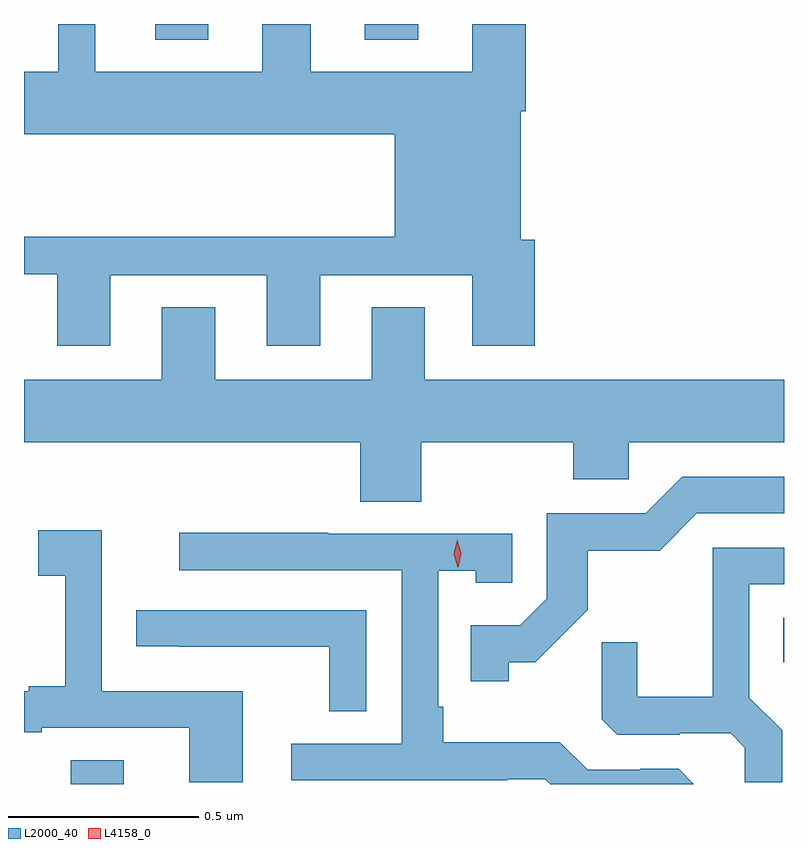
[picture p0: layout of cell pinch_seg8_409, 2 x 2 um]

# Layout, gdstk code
import gdstk
lib = gdstk.Library(unit=1e-6, precision=1e-09)
def R(c, l, rs):  # rectangles x0, y0, x1, y1
    for r in rs: c.add(gdstk.rectangle(r[:2], r[2:], *l))
def P(c, l, *ps):  # polygons
    for p in ps: c.add(gdstk.Polygon(p, *l))
L2000_40 = (2000, 40)
L4158_0 = (4158, 0)

pinch_seg8_409 = lib.new_cell('pinch_seg8_409')
R(pinch_seg8_409, L2000_40, [(540.995,1082.3,541.135,1082.363), (542.87,1082.621,542.872,1082.737), (541.217,1084.259,541.357,1084.3), (541.769,1084.259,541.909,1084.3)])
P(pinch_seg8_409, L2000_40, [(541.099,1083.639),(541.511,1083.639),(541.511,1083.453),(541.651,1083.453),(541.651,1083.639),(542.051,1083.639),(542.051,1083.453),(542.216,1083.453),(542.216,1083.732),(542.179,1083.732),(542.179,1084.07),(542.192,1084.07),(542.192,1084.3),(542.051,1084.3),(542.051,1084.174),(541.627,1084.174),(541.627,1084.3),(541.499,1084.3),(541.499,1084.174),(541.06,1084.174),(541.06,1084.3),(540.962,1084.3),(540.962,1084.174),(540.872,1084.174),(540.872,1084.01),(541.847,1084.01),(541.847,1083.74),(540.872,1083.74),(540.872,1083.642),(540.959,1083.642),(540.959,1083.453),(541.099,1083.453)],
  [(541.917,1083.2),(542.317,1083.2),(542.317,1083.102),(542.463,1083.102),(542.463,1083.2),(542.872,1083.2),(542.872,1083.364),(541.927,1083.364),(541.927,1083.554),(541.787,1083.554),(541.787,1083.364),(541.375,1083.364),(541.375,1083.554),(541.235,1083.554),(541.235,1083.364),(540.872,1083.364),(540.872,1083.2),(541.757,1083.2),(541.757,1083.043),(541.917,1083.043)],
  [(542.148,1082.621),(542.218,1082.621),(542.356,1082.758),(542.356,1082.914),(542.545,1082.914),(542.643,1083.012),(542.872,1083.012),(542.872,1083.108),(542.604,1083.108),(542.508,1083.012),(542.247,1083.012),(542.247,1082.787),(542.178,1082.718),(542.047,1082.718),(542.047,1082.571),(542.148,1082.571)],
  [(541.447,1082.544),(541.077,1082.544),(541.077,1082.968),(540.909,1082.968),(540.909,1082.848),(540.98,1082.848),(540.98,1082.557),(540.884,1082.557),(540.884,1082.544),(540.872,1082.544),(540.872,1082.436),(540.919,1082.436),(540.919,1082.448),(541.307,1082.448),(541.307,1082.305),(541.447,1082.305)],
  [(542.595,1082.34),(542.494,1082.34),(542.494,1082.337),(542.355,1082.337),(542.282,1082.41),(541.975,1082.41),(541.975,1082.503),(541.962,1082.503),(541.962,1082.861),(542.061,1082.861),(542.061,1082.829),(542.157,1082.829),(542.157,1082.958),(541.673,1082.958),(541.673,1082.961),(541.281,1082.961),(541.281,1082.862),(541.866,1082.862),(541.866,1082.406),(541.575,1082.406),(541.575,1082.31),(542.144,1082.31),(542.144,1082.313),(542.244,1082.313),(542.257,1082.3),(542.635,1082.3)],
  [(542.867,1082.441),(542.781,1082.527),(542.781,1082.826),(542.872,1082.826),(542.872,1082.922),(542.684,1082.922),(542.684,1082.53),(542.486,1082.53),(542.486,1082.673),(542.392,1082.673),(542.392,1082.471),(542.433,1082.43),(542.598,1082.43),(542.598,1082.433),(542.732,1082.433),(542.769,1082.396),(542.769,1082.305),(542.867,1082.305)],
  [(541.773,1082.757),(541.167,1082.757),(541.167,1082.662),(541.279,1082.662),(541.279,1082.661),(541.675,1082.661),(541.675,1082.491),(541.773,1082.491)])
P(pinch_seg8_409, L4158_0, [(542.014,1082.871),(542.014,1082.871),(542.003,1082.906),(542.012,1082.942),(542.012,1082.943),(542.012,1082.942),(542.023,1082.907),(542.015,1082.871)])

lib.write_gds('pinch_seg8_409.gds')
